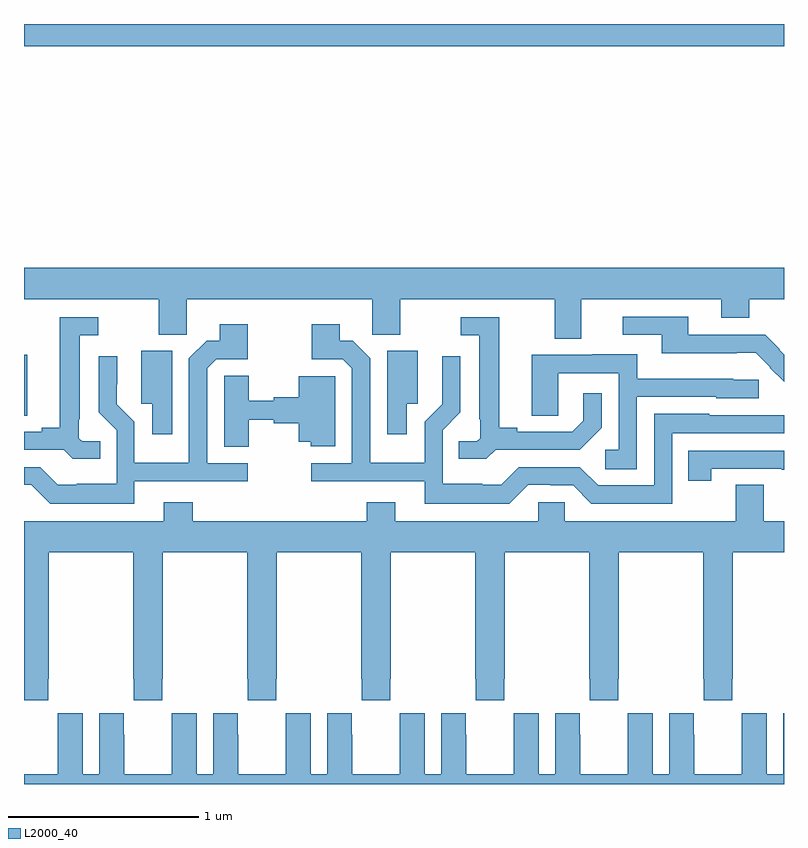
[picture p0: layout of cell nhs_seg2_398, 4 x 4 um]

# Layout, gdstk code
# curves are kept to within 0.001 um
import gdstk
lib = gdstk.Library(unit=1e-6, precision=1e-09)
def R(c, l, rs):  # rectangles x0, y0, x1, y1
    for r in rs: c.add(gdstk.rectangle(r[:2], r[2:], *l))
def P(c, l, *ps):  # polygons
    for p in ps: c.add(gdstk.Polygon(p, *l))
L2000_40 = (2000, 40)

nhs_seg2_398 = lib.new_cell('nhs_seg2_398')
R(nhs_seg2_398, L2000_40, [(131,597.739,131.017,598.059), (131,599.684,135,599.8)])
P(nhs_seg2_398, L2000_40, [(133.933,598.352),(134.669,598.352),(134.669,598.253),(134.817,598.253),(134.817,598.352),(135,598.352),(135,598.516),(131,598.516),(131,598.352),(131.71,598.352),(131.71,598.165),(131.856,598.165),(131.856,598.352),(132.834,598.352),(132.834,598.165),(132.981,598.165),(132.981,598.352),(133.793,598.352),(133.793,598.144),(133.933,598.144)],
  [(135,598.06),(134.975,598.085),(134.977,598.087),(134.901,598.164),(134.497,598.164),(134.497,598.26),(134.151,598.26),(134.151,598.164),(134.357,598.164),(134.357,598.067),(134.75,598.067),(134.75,598.07),(134.852,598.07),(134.928,597.993),(134.925,597.99),(135,597.916)],
  [(131.402,597.603),(131.307,597.603),(131.289,597.621),(131.289,597.721),(131.293,597.721),(131.293,598.161),(131.392,598.161),(131.392,598.257),(131.189,598.257),(131.189,597.674),(131.093,597.674),(131.093,597.654),(131,597.654),(131,597.558),(131.208,597.558),(131.256,597.511),(131.402,597.511)],
  [(133.482,597.558),(133.924,597.558),(134.04,597.674),(134.04,597.856),(133.943,597.856),(133.943,597.711),(133.886,597.654),(133.597,597.654),(133.597,597.674),(133.501,597.674),(133.501,598.257),(133.299,598.257),(133.299,598.161),(133.397,598.161),(133.397,597.721),(133.401,597.721),(133.401,597.621),(133.383,597.603),(133.288,597.603),(133.288,597.511),(133.434,597.511)],
  [(131.581,597.393),(132.178,597.393),(132.178,597.489),(131.964,597.489),(131.964,597.987),(132.012,598.035),(132.177,598.035),(132.177,598.219),(132.029,598.219),(132.029,598.134),(131.961,598.134),(131.868,598.041),(131.868,597.49),(131.58,597.49),(131.58,597.706),(131.489,597.798),(131.49,598.051),(131.394,598.051),(131.394,597.756),(131.487,597.663),(131.487,597.379),(131.278,597.379),(131.278,597.375),(131.178,597.375),(131.085,597.468),(131,597.468),(131,597.375),(131.037,597.375),(131.137,597.275),(131.581,597.275)],
  [(133.653,597.375),(133.77,597.375),(133.77,597.372),(133.89,597.372),(133.986,597.276),(134.412,597.276),(134.412,597.645),(135,597.645),(135,597.741),(134.607,597.741),(134.607,597.748),(134.316,597.748),(134.316,597.372),(134.022,597.372),(133.926,597.468),(133.605,597.468),(133.512,597.375),(133.412,597.375),(133.412,597.379),(133.203,597.379),(133.203,597.663),(133.296,597.756),(133.296,598.051),(133.2,598.051),(133.2,597.904),(133.202,597.904),(133.202,597.798),(133.11,597.706),(133.11,597.49),(132.822,597.49),(132.822,598.041),(132.729,598.134),(132.661,598.134),(132.661,598.219),(132.514,598.219),(132.514,598.035),(132.678,598.035),(132.726,597.987),(132.726,597.489),(132.513,597.489),(132.513,597.393),(133.109,597.393),(133.109,597.275),(133.553,597.275)],
  [(133.015,597.801),(133.072,597.801),(133.072,598.08),(132.911,598.08),(132.911,597.642),(133.015,597.642)],
  [(131.779,598.08),(131.618,598.08),(131.618,597.801),(131.675,597.801),(131.675,597.642),(131.779,597.642)],
  [(134.226,597.837),(134.643,597.837),(134.643,597.831),(134.868,597.831),(134.868,597.927),(134.733,597.927),(134.733,597.934),(134.227,597.934),(134.227,598.063),(133.991,598.063),(133.991,598.059),(133.673,598.059),(133.673,597.739),(133.812,597.739),(133.812,597.963),(134.13,597.963),(134.13,597.558),(134.058,597.558),(134.058,597.457),(134.226,597.457)],
  [(132.184,597.718),(132.315,597.718),(132.315,597.7),(132.446,597.7),(132.446,597.602),(132.51,597.602),(132.51,597.578),(132.637,597.578),(132.637,597.945),(132.446,597.945),(132.446,597.836),(132.315,597.836),(132.315,597.818),(132.184,597.818),(132.184,597.95),(132.054,597.95),(132.054,597.842),(132.053,597.842),(132.053,597.574),(132.184,597.574)],
  [(134.616,597.459),(134.989,597.459),(134.989,597.454),(135,597.454),(135,597.555),(134.497,597.555),(134.497,597.396),(134.616,597.396)],
  [(131,596.241),(131.127,596.241),(131.127,596.353),(131.13,596.353),(131.13,597.02),(131.575,597.02),(131.575,596.353),(131.577,596.353),(131.577,596.241),(131.727,596.241),(131.727,596.353),(131.73,596.353),(131.73,597.02),(132.175,597.02),(132.175,596.353),(132.177,596.353),(132.177,596.241),(132.327,596.241),(132.327,596.353),(132.33,596.353),(132.33,597.02),(132.775,597.02),(132.775,596.353),(132.777,596.353),(132.777,596.241),(132.927,596.241),(132.927,596.353),(132.93,596.353),(132.93,597.02),(133.375,597.02),(133.375,596.353),(133.377,596.353),(133.377,596.241),(133.527,596.241),(133.527,596.353),(133.53,596.353),(133.53,597.02),(133.975,597.02),(133.975,596.353),(133.977,596.353),(133.977,596.241),(134.127,596.241),(134.127,596.353),(134.13,596.353),(134.13,597.02),(134.575,597.02),(134.575,596.353),(134.577,596.353),(134.577,596.241),(134.727,596.241),(134.727,596.353),(134.73,596.353),(134.73,597.02),(135,597.02),(135,597.184),(134.893,597.184),(134.893,597.374),(134.746,597.374),(134.746,597.184),(133.845,597.184),(133.845,597.282),(133.707,597.282),(133.707,597.184),(132.955,597.184),(132.955,597.283),(132.803,597.283),(132.803,597.184),(131.888,597.184),(131.888,597.283),(131.735,597.283),(131.735,597.184),(131,597.184)],
  [(134.526,596.06),(134.526,596.173),(134.396,596.173),(134.396,595.852),(134.308,595.852),(134.308,596.173),(134.178,596.173),(134.178,596.06),(134.177,596.06),(134.177,595.852),(133.927,595.852),(133.927,596.06),(133.926,596.06),(133.926,596.173),(133.796,596.173),(133.796,595.852),(133.708,595.852),(133.708,596.173),(133.578,596.173),(133.578,596.06),(133.577,596.06),(133.577,595.852),(133.327,595.852),(133.327,596.06),(133.326,596.06),(133.326,596.173),(133.196,596.173),(133.196,595.852),(133.108,595.852),(133.108,596.173),(132.978,596.173),(132.978,596.06),(132.977,596.06),(132.977,595.852),(132.727,595.852),(132.727,596.06),(132.726,596.06),(132.726,596.173),(132.596,596.173),(132.596,595.852),(132.508,595.852),(132.508,596.173),(132.378,596.173),(132.378,596.06),(132.377,596.06),(132.377,595.852),(132.127,595.852),(132.127,596.06),(132.126,596.06),(132.126,596.173),(131.996,596.173),(131.996,595.852),(131.908,595.852),(131.908,596.173),(131.778,596.173),(131.778,596.06),(131.777,596.06),(131.777,595.852),(131.527,595.852),(131.527,596.06),(131.526,596.06),(131.526,596.173),(131.396,596.173),(131.396,595.852),(131.308,595.852),(131.308,596.173),(131.178,596.173),(131.178,596.06),(131.177,596.06),(131.177,595.852),(131,595.852),(131,595.8),(135,595.8),(135,596.173),(134.996,596.173),(134.996,595.852),(134.908,595.852),(134.908,596.173),(134.778,596.173),(134.778,596.06),(134.777,596.06),(134.777,595.852),(134.527,595.852),(134.527,596.06)])

lib.write_gds('nhs_seg2_398.gds')
